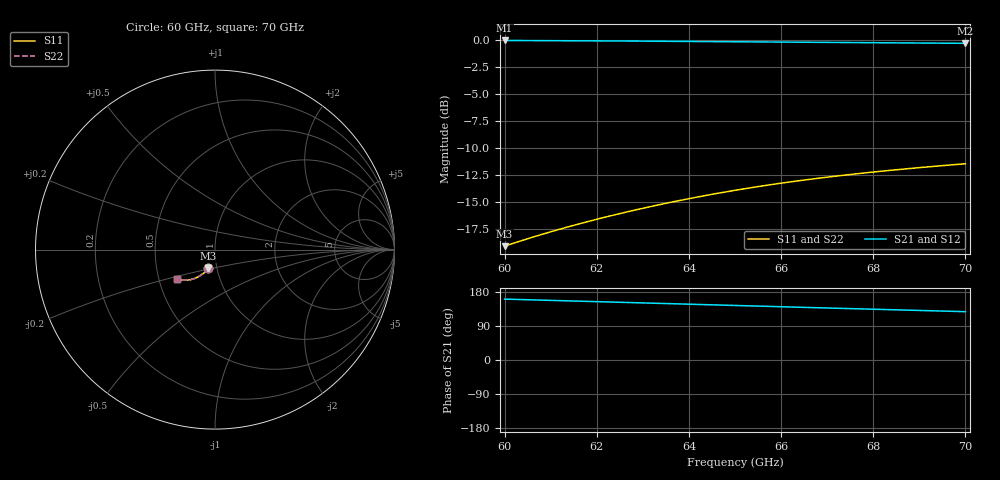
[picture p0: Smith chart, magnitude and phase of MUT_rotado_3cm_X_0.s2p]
! TOUCHSTONE file generated by CST MICROWAVE STUDIO
! Date and time: Sat Feb 17 14:29:55 2024
! Project name: MUT_rotado.cst
! Parameters = {AngX=0}
! Header version: 2018
! Port assignment regex: !\s*Touchstone port\s*([0-9]+)\s*=\s*(CST MWS port|CST DS port)\s*([0-9]+|Zmin|Zmax)\s*\(\"(.*)\"\)(\s*mode\s*([0-9]+))?.*
! Touchstone port assignment:
! Touchstone port 1 = CST MWS port 1 ("")
! Touchstone port 2 = CST MWS port 2 ("")
# GHz S MA R 376.7
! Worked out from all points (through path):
!   1001 points, 60 GHz to 70 GHz, reference 376.7 ohm
!   highest |S21| = -0.06 dB at 60 GHz (marker M1); lowest = -0.3 dB at 70 GHz (marker M2)
!   group delay of S21, straight-line fit = 9.22 ps
!   lowest |S11| = -19.1 dB at 60 GHz (marker M3), VSWR 1.25, Z = 343 - j72.9 ohm
!   |S11| at or under -10 dB: start of sweep to end of sweep
!   |S22| runs from -19.1 to -11.5 dB; largest |S21 - S12| = 0.0016
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60  0.1113 -109.2  0.9933 160.7  0.9934 160.7  0.1113 -109.2
60.05  0.1122 -109.4  0.9931 160.5  0.9933 160.6  0.1122 -109.4
60.46  0.1198 -110.8  0.9919 159.1  0.9925 159.2  0.1195 -110.7
60.88  0.1275 -112.3  0.9908 157.7  0.9916 157.7  0.127 -112.1
61.27  0.1347 -113.6  0.9901 156.3  0.9907 156.4  0.134 -113.5
61.67  0.1421 -115.0  0.9897 155.0  0.9898 155.1  0.1413 -114.9
62.07  0.1495 -116.4  0.989 153.6  0.9888 153.7  0.1488 -116.4
62.49  0.1572 -117.8  0.9879 152.3  0.9876 152.3  0.1567 -117.9
62.92  0.1651 -119.3  0.9864 150.8  0.9864 150.8  0.1649 -119.4
63.34  0.1727 -120.7  0.985 149.4  0.9851 149.4  0.1728 -120.8
63.74  0.1799 -122.1  0.9836 148.1  0.9838 148.0  0.1801 -122.1
64.14  0.187 -123.4  0.9822 146.7  0.9824 146.7  0.1872 -123.4
64.56  0.1943 -124.8  0.9808 145.3  0.9809 145.3  0.1944 -124.8
65  0.2017 -126.2  0.9794 143.9  0.9793 143.8  0.2017 -126.2
65.41  0.2084 -127.5  0.978 142.5  0.9779 142.5  0.2083 -127.6
65.82  0.2148 -128.8  0.9766 141.1  0.9764 141.1  0.2146 -128.9
66.67  0.2274 -131.6  0.9739 138.3  0.9736 138.3  0.2272 -131.8
67.49  0.2385 -134.2  0.9712 135.6  0.9711 135.6  0.2385 -134.5
68.34  0.2491 -137.0  0.9686 132.9  0.9686 132.9  0.2492 -137.3
69.28  0.2598 -140.1  0.9656 129.8  0.9659 129.8  0.26 -140.2
69.95  0.267 -142.3  0.9636 127.7  0.9638 127.7  0.267 -142.3
70  0.2675 -142.5  0.9634 127.5  0.9637 127.5  0.2675 -142.5
